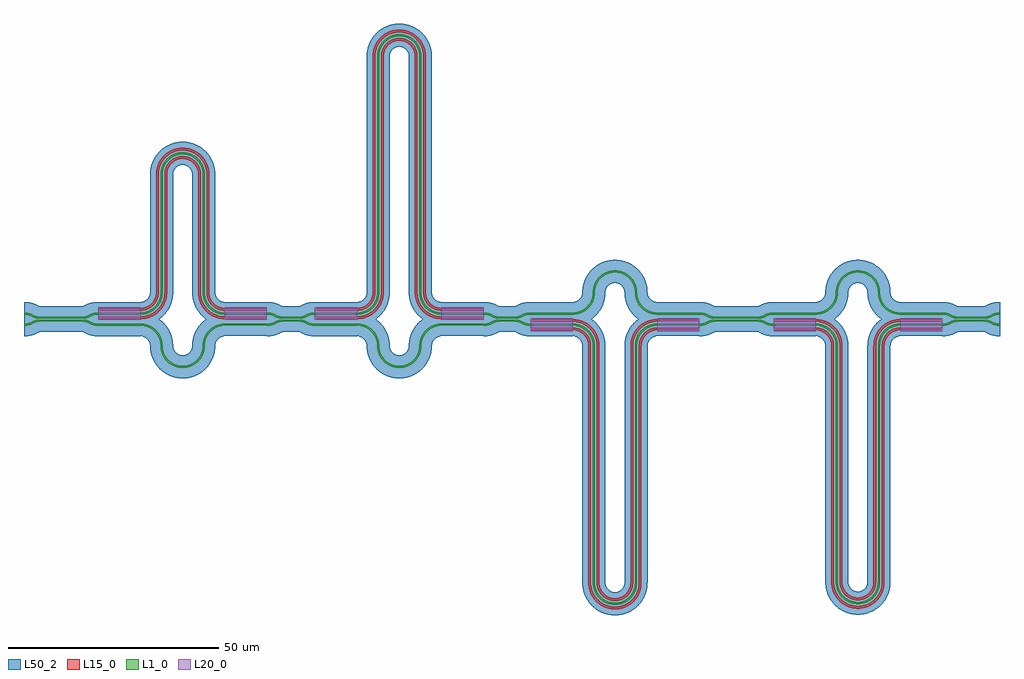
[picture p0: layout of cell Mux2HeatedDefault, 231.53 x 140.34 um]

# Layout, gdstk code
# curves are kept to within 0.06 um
import gdstk
lib = gdstk.Library(unit=1e-6, precision=1e-09)
def R(c, l, rs):  # rectangles x0, y0, x1, y1
    for r in rs: c.add(gdstk.rectangle(r[:2], r[2:], *l))
def P(c, l, *ps):  # polygons
    for p in ps: c.add(gdstk.Polygon(p, *l))
L1_0 = (1, 0)
L15_0 = (15, 0)
L20_0 = (20, 0)
L50_2 = (50, 2)

mux2heateddefaultdc_0 = lib.new_cell('Mux2HeatedDefaultdc_0')
P(mux2heateddefaultdc_0, L1_0, [(-8.818,1.1),(-7.81,0.986),(-6.2,0.305),(-5.206,0.11),(5.003,0.101),(6.135,0.284),(7.81,0.986),(8.819,1.1),(8.819,1.55),(8.229,1.522),(7.632,1.404),(6.058,0.732),(5.056,0.552),(-5.236,0.563),(-6.115,0.752),(-7.502,1.366),(-8.566,1.547),(-8.818,1.55)],
  [(-8.818,-1.55),(-8.229,-1.522),(-7.632,-1.404),(-6.058,-0.732),(-5.056,-0.552),(5.236,-0.563),(6.115,-0.752),(7.502,-1.366),(8.566,-1.547),(8.819,-1.55),(8.819,-1.1),(7.81,-0.986),(6.2,-0.305),(5.206,-0.11),(-5.003,-0.101),(-6.135,-0.284),(-7.81,-0.986),(-8.818,-1.1)])
P(mux2heateddefaultdc_0, L50_2, [(8.819,-1.55),(8.819,-4.05),(7.07,-3.842),(6.237,-3.565),(5.32,-3.123),(4.905,-3.05),(-5.024,-3.054),(-7.07,-3.842),(-8.818,-4.05),(-8.818,4.05),(-7.07,3.842),(-6.237,3.565),(-5.32,3.123),(-4.905,3.05),(5.024,3.054),(7.07,3.842),(8.819,4.05)])

mux2heateddefaultdc_1 = lib.new_cell('Mux2HeatedDefaultdc_1')
P(mux2heateddefaultdc_1, L1_0, [(-5.693,1.1),(-5.157,1.075),(-4.569,0.954),(-3.139,0.327),(-2.283,0.128),(1.946,0.103),(3.01,0.284),(4.685,0.986),(5.694,1.1),(5.694,1.55),(5.104,1.522),(4.507,1.404),(2.933,0.732),(1.931,0.552),(-2.29,0.583),(-3.102,0.793),(-4.377,1.366),(-5.306,1.54),(-5.693,1.55)],
  [(-5.693,-1.55),(-5.104,-1.522),(-4.507,-1.404),(-2.933,-0.732),(-1.931,-0.552),(2.29,-0.583),(3.102,-0.793),(4.377,-1.366),(5.306,-1.54),(5.694,-1.55),(5.694,-1.1),(5.157,-1.075),(4.569,-0.954),(3.139,-0.327),(2.283,-0.128),(-1.946,-0.103),(-3.01,-0.284),(-4.685,-0.986),(-5.693,-1.1)])
P(mux2heateddefaultdc_1, L50_2, [(5.694,-1.55),(5.694,-4.05),(3.945,-3.842),(3.112,-3.565),(2.195,-3.123),(1.78,-3.05),(-1.952,-3.06),(-3.945,-3.842),(-5.693,-4.05),(-5.693,4.05),(-3.945,3.842),(-3.112,3.565),(-2.195,3.123),(-1.78,3.05),(1.952,3.06),(3.945,3.842),(5.694,4.05)])

mux2heateddefaultdc_2 = lib.new_cell('Mux2HeatedDefaultdc_2')
P(mux2heateddefaultdc_2, L1_0, [(-5.58,1.1),(-5.044,1.075),(-4.456,0.954),(-3.089,0.35),(-2.237,0.137),(1.833,0.103),(2.897,0.284),(4.572,0.986),(5.581,1.1),(5.581,1.55),(4.991,1.522),(4.394,1.404),(2.82,0.732),(1.818,0.552),(-2.177,0.583),(-2.989,0.793),(-4.264,1.366),(-5.125,1.535),(-5.58,1.55)],
  [(-5.58,-1.55),(-4.991,-1.522),(-4.394,-1.404),(-2.82,-0.732),(-1.818,-0.552),(2.177,-0.583),(2.989,-0.793),(4.264,-1.366),(5.125,-1.535),(5.581,-1.55),(5.581,-1.1),(5.044,-1.075),(4.456,-0.954),(3.089,-0.35),(2.237,-0.137),(-1.833,-0.103),(-2.897,-0.284),(-4.572,-0.986),(-5.58,-1.1)])
P(mux2heateddefaultdc_2, L50_2, [(5.581,-1.55),(5.581,-4.05),(3.832,-3.842),(2.999,-3.565),(2.082,-3.123),(1.667,-3.05),(-1.839,-3.06),(-3.832,-3.842),(-5.58,-4.05),(-5.58,4.05),(-3.832,3.842),(-2.999,3.565),(-2.082,3.123),(-1.667,3.05),(1.839,3.06),(3.832,3.842),(5.581,4.05)])

mux2heateddefaultdc_3 = lib.new_cell('Mux2HeatedDefaultdc_3')
P(mux2heateddefaultdc_3, L1_0, [(-8.818,1.1),(-7.81,0.986),(-6.2,0.305),(-5.206,0.11),(5.003,0.101),(6.135,0.284),(7.81,0.986),(8.819,1.1),(8.819,1.55),(8.229,1.522),(7.632,1.404),(6.058,0.732),(5.056,0.552),(-5.236,0.563),(-6.115,0.752),(-7.502,1.366),(-8.566,1.547),(-8.818,1.55)],
  [(-8.818,-1.55),(-8.229,-1.522),(-7.632,-1.404),(-6.058,-0.732),(-5.056,-0.552),(5.236,-0.563),(6.115,-0.752),(7.502,-1.366),(8.566,-1.547),(8.819,-1.55),(8.819,-1.1),(7.81,-0.986),(6.2,-0.305),(5.206,-0.11),(-5.003,-0.101),(-6.135,-0.284),(-7.81,-0.986),(-8.818,-1.1)])
P(mux2heateddefaultdc_3, L50_2, [(8.819,-1.55),(8.819,-4.05),(7.07,-3.842),(6.237,-3.565),(5.32,-3.123),(4.905,-3.05),(-5.024,-3.054),(-7.07,-3.842),(-8.818,-4.05),(-8.818,4.05),(-7.07,3.842),(-6.237,3.565),(-5.32,3.123),(-4.905,3.05),(5.024,3.054),(7.07,3.842),(8.819,4.05)])

mux2heateddefaultdc_4 = lib.new_cell('Mux2HeatedDefaultdc_4')
P(mux2heateddefaultdc_4, L1_0, [(-6.854,1.1),(-6.318,1.075),(-5.73,0.954),(-4.3,0.327),(-3.377,0.121),(3.107,0.103),(4.171,0.284),(5.846,0.986),(6.855,1.1),(6.855,1.55),(6.265,1.522),(5.668,1.404),(4.094,0.732),(3.092,0.552),(-3.391,0.575),(-4.207,0.772),(-5.538,1.366),(-6.534,1.544),(-6.854,1.55)],
  [(-6.854,-1.55),(-6.265,-1.522),(-5.668,-1.404),(-4.094,-0.732),(-3.092,-0.552),(3.391,-0.575),(4.207,-0.772),(5.538,-1.366),(6.534,-1.544),(6.855,-1.55),(6.855,-1.1),(6.318,-1.075),(5.73,-0.954),(4.3,-0.327),(3.377,-0.121),(-3.107,-0.103),(-4.171,-0.284),(-5.846,-0.986),(-6.854,-1.1)])
P(mux2heateddefaultdc_4, L50_2, [(6.855,-1.55),(6.855,-4.05),(5.106,-3.842),(4.273,-3.565),(3.356,-3.123),(2.941,-3.05),(-3.06,-3.054),(-5.106,-3.842),(-6.854,-4.05),(-6.854,4.05),(-5.106,3.842),(-4.273,3.565),(-3.356,3.123),(-2.941,3.05),(3.06,3.054),(5.106,3.842),(6.855,4.05)])

mux2heateddefaultd_0 = lib.new_cell('Mux2HeatedDefaultd_0')
P(mux2heateddefaultd_0, L1_0, [(0,-0.225),(10.001,-0.225),(10.986,-0.131),(12.103,0.217),(13.115,0.805),(13.97,1.603),(14.627,2.572),(15.051,3.662),(15.224,4.91),(15.27,33.676),(15.454,34.479),(15.811,35.311),(16.267,35.996),(16.896,36.647),(17.565,37.126),(18.307,37.484),(19.18,37.723),(20,37.794),(20.82,37.723),(21.693,37.484),(22.435,37.126),(23.104,36.647),(23.733,35.996),(24.189,35.311),(24.546,34.479),(24.73,33.676),(24.776,4.91),(24.949,3.662),(25.373,2.572),(26.03,1.603),(26.885,0.805),(27.897,0.217),(29.014,-0.131),(29.999,-0.225),(40,-0.225),(40,0.225),(30.001,0.225),(28.937,0.345),(27.928,0.698),(27.023,1.267),(26.216,2.088),(25.663,3.003),(25.345,3.937),(25.226,4.918),(25.206,33.469),(24.947,34.702),(24.448,35.761),(23.663,36.745),(22.664,37.514),(21.511,38.021),(20.36,38.231),(19.192,38.181),(17.98,37.838),(16.885,37.214),(16.03,36.416),(15.373,35.447),(14.927,34.269),(14.775,33.02),(14.772,4.835),(14.571,3.619),(14.108,2.565),(13.519,1.772),(12.713,1.07),(11.846,0.596),(10.982,0.327),(9.999,0.225),(0,0.225)])
P(mux2heateddefaultd_0, L15_0, [(0,-1.3),(10.109,-1.299),(11.296,-1.165),(12.635,-0.722),(13.842,0.007),(14.787,0.904),(15.578,2.072),(16.117,3.492),(16.299,4.891),(16.335,33.528),(16.497,34.211),(16.754,34.795),(17.546,35.788),(18.113,36.202),(18.748,36.501),(20,36.719),(21.252,36.501),(21.887,36.202),(22.454,35.788),(23.246,34.795),(23.503,34.211),(23.665,33.528),(23.701,4.891),(23.883,3.492),(24.422,2.072),(25.213,0.904),(26.158,0.007),(27.365,-0.722),(28.704,-1.165),(29.891,-1.299),(40,-1.3),(40,-0.7),(29.902,-0.699),(28.541,-0.51),(27.351,-0.047),(26.37,0.606),(25.544,1.446),(24.864,2.527),(24.443,3.732),(24.301,4.902),(24.29,33.316),(24.094,34.334),(23.661,35.275),(23.014,36.086),(22.193,36.718),(21.315,37.113),(20.297,37.309),(19.261,37.255),(18.269,36.955),(17.377,36.427),(16.685,35.758),(16.126,34.885),(15.792,33.903),(15.7,33.016),(15.697,4.803),(15.484,3.446),(14.953,2.178),(14.267,1.22),(13.398,0.424),(12.384,-0.177),(11.268,-0.557),(10.098,-0.699),(0,-0.7)],
  [(0,0.7),(10.739,0.764),(11.663,1.034),(12.503,1.504),(13.219,2.149),(13.807,3.002),(14.157,3.899),(14.299,4.926),(14.3,33.022),(14.385,33.998),(14.636,34.948),(15.047,35.84),(15.606,36.649),(16.294,37.35),(17.178,37.972),(18.071,38.383),(19.021,38.634),(20,38.719),(20.979,38.634),(21.929,38.383),(22.822,37.972),(23.706,37.35),(24.394,36.649),(24.953,35.84),(25.364,34.948),(25.615,33.998),(25.7,33.022),(25.701,4.926),(25.843,3.899),(26.193,3.002),(26.781,2.149),(27.497,1.504),(28.337,1.034),(29.261,0.764),(40,0.7),(40,1.3),(30.006,1.3),(29.239,1.379),(28.452,1.639),(27.693,2.107),(27.107,2.693),(26.639,3.452),(26.379,4.239),(26.3,5.006),(26.277,33.562),(25.964,35.048),(25.363,36.325),(24.493,37.435),(23.306,38.382),(22.029,38.983),(20.543,39.296),(19.133,39.259),(17.766,38.91),(16.421,38.204),(15.357,37.277),(14.526,36.138),(13.939,34.737),(13.7,33.025),(13.698,4.872),(13.542,3.93),(13.15,3.059),(12.639,2.406),(12.049,1.919),(11.312,1.54),(10.636,1.355),(0,1.3)])
R(mux2heateddefaultd_0, L20_0, [(0,-1.5,10,1.5), (30,-1.5,40,1.5)])
P(mux2heateddefaultd_0, L50_2, [(0,-2.725),(10.133,-2.724),(11.849,-2.501),(13.352,-1.96),(14.817,-1.04),(15.956,0.08),(16.84,1.41),(17.501,3.151),(17.724,4.867),(17.737,33.254),(17.95,34.006),(18.491,34.722),(19.193,35.146),(20,35.294),(20.807,35.146),(21.509,34.722),(22.05,34.006),(22.263,33.254),(22.276,4.867),(22.499,3.151),(23.16,1.41),(24.044,0.08),(25.183,-1.04),(26.648,-1.96),(28.151,-2.501),(29.867,-2.724),(40,-2.725),(40,2.725),(29.765,2.737),(29.157,2.887),(28.613,3.197),(28.15,3.676),(27.873,4.193),(27.725,4.961),(27.669,33.95),(27.223,35.758),(26.358,37.407),(25.222,38.712),(23.708,39.796),(22.235,40.414),(20.799,40.703),(19.334,40.715),(17.893,40.451),(16.41,39.859),(15.183,39.059),(14.13,38.041),(13.288,36.843),(12.568,35.125),(12.28,33.286),(12.275,4.961),(12.154,4.267),(11.85,3.676),(11.418,3.221),(10.88,2.902),(10.235,2.737),(0,2.725)])

mux2heateddefaultwf = lib.new_cell('Mux2HeatedDefaultwf')
P(mux2heateddefaultwf, L1_0, [(0,-0.225),(10.27,-0.218),(11.338,-0.051),(12.348,0.332),(13.042,0.752),(13.663,1.274),(14.195,1.885),(14.627,2.572),(14.917,3.232),(15.113,3.925),(15.27,5.657),(15.429,6.381),(15.772,7.219),(16.267,7.977),(17.023,8.733),(17.928,9.302),(18.937,9.655),(20,9.775),(21.063,9.655),(22.072,9.302),(22.912,8.784),(23.681,8.041),(24.189,7.292),(24.571,6.381),(24.73,5.657),(24.887,3.925),(25.083,3.232),(25.373,2.572),(25.859,1.813),(26.402,1.211),(27.032,0.7),(27.733,0.292),(28.837,-0.094),(29.999,-0.225),(40,-0.225),(40,0.225),(29.753,0.231),(28.777,0.384),(27.854,0.734),(27.153,1.166),(26.653,1.595),(26.166,2.153),(25.734,2.854),(25.327,4.018),(25.187,5.63),(25.002,6.511),(24.627,7.428),(24.028,8.328),(23.187,9.141),(22.185,9.746),(21.075,10.113),(19.91,10.224),(18.837,10.094),(17.733,9.708),(16.742,9.085),(15.915,8.258),(15.373,7.428),(14.998,6.511),(14.813,5.63),(14.673,4.018),(14.266,2.854),(13.834,2.153),(13.405,1.653),(12.847,1.166),(12.219,0.772),(11.223,0.384),(10.247,0.231),(0,0.225)])
P(mux2heateddefaultwf, L50_2, [(0,-2.725),(10.533,-2.707),(11.978,-2.468),(13.471,-1.901),(15.022,-0.87),(15.693,-0.222),(16.358,0.612),(16.96,1.648),(17.395,2.765),(17.652,3.937),(17.752,5.352),(17.95,5.987),(18.271,6.479),(18.676,6.85),(19.12,7.098),(19.648,7.248),(20.352,7.248),(20.987,7.05),(21.509,6.703),(21.937,6.194),(22.226,5.468),(22.368,3.805),(22.731,2.386),(23.355,1.061),(24.218,-0.123),(25.183,-1.04),(26.176,-1.712),(27.261,-2.223),(28.411,-2.56),(29.867,-2.724),(40,-2.725),(40,2.725),(29.961,2.725),(29.013,2.95),(28.297,3.491),(27.873,4.193),(27.752,4.648),(27.56,6.589),(26.96,8.352),(26.281,9.497),(25.319,10.602),(23.939,11.645),(22.362,12.355),(20.666,12.696),(18.937,12.652),(17.512,12.313),(16.176,11.712),(14.978,10.87),(13.96,9.817),(13.223,8.708),(12.645,7.362),(12.39,6.327),(12.248,4.648),(12.098,4.12),(11.703,3.491),(11.092,3.004),(10.62,2.811),(10.079,2.726),(0,2.725)])

mux2heateddefaultd_1 = lib.new_cell('Mux2HeatedDefaultd_1')
P(mux2heateddefaultd_1, L1_0, [(0,-0.225),(10.09,-0.224),(11.25,-0.073),(12.508,0.416),(13.598,1.211),(14.448,2.258),(15.002,3.489),(15.162,4.192),(15.225,4.999),(15.236,61.367),(15.384,62.26),(15.698,63.11),(16.166,63.884),(16.772,64.557),(17.495,65.103),(18.307,65.503),(19.18,65.742),(20,65.813),(20.82,65.742),(21.693,65.503),(22.505,65.103),(23.228,64.557),(23.834,63.884),(24.302,63.11),(24.616,62.26),(24.764,61.367),(24.775,4.999),(24.838,4.192),(24.998,3.489),(25.552,2.258),(26.402,1.211),(27.492,0.416),(28.75,-0.073),(29.91,-0.224),(40,-0.225),(40,0.225),(29.918,0.226),(28.777,0.384),(27.636,0.851),(26.653,1.595),(25.892,2.565),(25.596,3.154),(25.384,3.777),(25.225,5.001),(25.213,61.398),(25.094,62.201),(24.885,62.891),(24.584,63.546),(24.141,64.225),(23.598,64.827),(23.042,65.286),(22.348,65.706),(21.597,66.013),(20.54,66.235),(19.37,66.225),(18.232,65.955),(17.182,65.438),(16.337,64.764),(15.6,63.856),(15.083,62.806),(14.813,61.668),(14.775,5.001),(14.73,4.343),(14.546,3.54),(14.065,2.495),(13.288,1.537),(12.364,0.851),(11.223,0.384),(10.082,0.226),(0,0.225)])
P(mux2heateddefaultd_1, L15_0, [(0,-1.3),(10.109,-1.299),(11.718,-1.061),(13.119,-0.474),(14.416,0.507),(15.363,1.694),(16.031,3.178),(16.24,4.133),(16.3,4.994),(16.309,61.293),(16.423,61.985),(16.666,62.643),(17.029,63.244),(17.499,63.765),(18.059,64.188),(18.628,64.474),(19.239,64.659),(20,64.738),(20.761,64.659),(21.372,64.474),(21.941,64.188),(22.501,63.765),(22.971,63.244),(23.334,62.643),(23.577,61.985),(23.691,61.293),(23.7,4.994),(23.76,4.133),(23.969,3.178),(24.637,1.694),(25.584,0.507),(26.881,-0.474),(28.282,-1.061),(29.891,-1.299),(40,-1.3),(40,-0.7),(29.803,-0.697),(28.351,-0.456),(27.093,0.097),(25.935,1.004),(25.047,2.178),(24.516,3.446),(24.3,4.997),(24.294,61.26),(24.021,62.563),(23.408,63.66),(22.443,64.577),(21.315,65.132),(20.371,65.322),(19.408,65.297),(18.475,65.058),(17.557,64.577),(16.882,63.999),(16.301,63.231),(15.906,62.352),(15.716,61.409),(15.7,4.997),(15.631,4.118),(15.427,3.257),(14.852,2.009),(13.996,0.935),(12.907,0.097),(11.649,-0.456),(10.197,-0.697),(0,-0.7)],
  [(0,0.7),(9.997,0.7),(10.884,0.792),(11.932,1.159),(12.907,1.831),(13.661,2.744),(14.116,3.756),(14.3,5.003),(14.321,61.529),(14.516,62.592),(14.864,63.511),(15.424,64.436),(16.147,65.238),(16.926,65.838),(17.887,66.332),(18.924,66.635),(20,66.738),(21.076,66.635),(22.113,66.332),(23.074,65.838),(23.853,65.238),(24.576,64.436),(25.136,63.511),(25.484,62.592),(25.679,61.529),(25.7,5.003),(25.884,3.756),(26.339,2.744),(27.093,1.831),(28.068,1.159),(29.116,0.792),(30.003,0.7),(40,0.7),(40,1.3),(30.006,1.3),(29.053,1.423),(28.168,1.785),(27.406,2.361),(26.785,3.168),(26.423,4.053),(26.3,5.006),(26.285,61.472),(26.142,62.44),(25.891,63.272),(25.474,64.156),(24.993,64.88),(24.416,65.531),(23.668,66.16),(22.831,66.666),(22.029,67.002),(20.651,67.304),(19.241,67.292),(17.868,66.966),(16.694,66.401),(15.584,65.531),(14.754,64.527),(14.109,63.272),(13.76,61.905),(13.7,5.006),(13.503,3.808),(13.081,2.951),(12.501,2.273),(11.719,1.724),(10.823,1.393),(9.994,1.3),(0,1.3)])
R(mux2heateddefaultd_1, L20_0, [(0,-1.5,10,1.5), (30,-1.5,40,1.5)])
P(mux2heateddefaultd_1, L50_2, [(0,-2.725),(10.267,-2.72),(11.327,-2.61),(12.362,-2.355),(14.053,-1.576),(15.509,-0.415),(16.645,1.061),(17.395,2.765),(17.652,3.937),(17.725,4.988),(17.726,61.116),(17.918,61.954),(18.405,62.66),(19.12,63.136),(20,63.313),(20.88,63.136),(21.595,62.66),(22.082,61.954),(22.274,61.116),(22.275,4.988),(22.348,3.937),(22.605,2.765),(23.355,1.061),(24.491,-0.415),(25.947,-1.576),(27.638,-2.355),(28.673,-2.61),(29.733,-2.72),(40,-2.725),(40,2.725),(29.648,2.752),(29.013,2.95),(28.491,3.297),(28.063,3.806),(27.791,4.456),(27.725,4.961),(27.696,61.704),(27.501,62.887),(27.175,63.901),(26.645,64.977),(25.956,65.958),(25.222,66.731),(24.278,67.47),(23.352,67.998),(22.235,68.433),(20.533,68.745),(18.937,68.689),(17.261,68.261),(15.834,67.543),(14.585,66.547),(13.568,65.316),(12.825,63.901),(12.368,62.233),(12.275,61.05),(12.275,4.961),(12.178,4.342),(11.916,3.773),(11.509,3.297),(10.987,2.95),(10.352,2.752),(0,2.725)])

mux2heateddefaultd_2 = lib.new_cell('Mux2HeatedDefaultd_2')
P(mux2heateddefaultd_2, L1_0, [(0,-0.225),(10.09,-0.224),(11.25,-0.073),(12.508,0.416),(13.598,1.211),(14.448,2.258),(15.002,3.489),(15.162,4.192),(15.225,4.999),(15.236,61.532),(15.384,62.425),(15.698,63.274),(16.166,64.049),(16.772,64.722),(17.495,65.268),(18.307,65.667),(19.18,65.907),(20,65.978),(20.82,65.907),(21.693,65.667),(22.505,65.268),(23.228,64.722),(23.834,64.049),(24.302,63.274),(24.616,62.425),(24.764,61.532),(24.775,4.999),(24.838,4.192),(24.998,3.489),(25.552,2.258),(26.402,1.211),(27.492,0.416),(28.75,-0.073),(29.91,-0.224),(40,-0.225),(40,0.225),(29.918,0.226),(28.777,0.384),(27.636,0.851),(26.653,1.595),(25.892,2.565),(25.596,3.154),(25.384,3.777),(25.225,5.001),(25.213,61.563),(25.094,62.365),(24.853,63.14),(24.54,63.789),(24.141,64.389),(23.598,64.992),(23.042,65.451),(22.428,65.829),(21.683,66.149),(20.54,66.4),(19.37,66.39),(18.317,66.149),(17.258,65.651),(16.337,64.929),(15.6,64.021),(15.083,62.971),(14.813,61.832),(14.775,5.001),(14.73,4.343),(14.546,3.54),(14.065,2.495),(13.288,1.537),(12.364,0.851),(11.223,0.384),(10.082,0.226),(0,0.225)])
P(mux2heateddefaultd_2, L15_0, [(0,-1.3),(10.109,-1.299),(11.718,-1.061),(13.119,-0.474),(14.416,0.507),(15.363,1.694),(16.031,3.178),(16.24,4.133),(16.3,4.994),(16.309,61.458),(16.423,62.15),(16.666,62.808),(17.029,63.408),(17.452,63.886),(18.005,64.318),(18.628,64.639),(19.239,64.824),(20,64.903),(20.761,64.824),(21.372,64.639),(21.995,64.318),(22.548,63.886),(22.971,63.408),(23.334,62.808),(23.577,62.15),(23.691,61.458),(23.7,4.994),(23.76,4.133),(23.969,3.178),(24.637,1.694),(25.584,0.507),(26.881,-0.474),(28.282,-1.061),(29.891,-1.299),(40,-1.3),(40,-0.7),(29.803,-0.697),(28.351,-0.456),(27.093,0.097),(25.935,1.004),(25.047,2.178),(24.516,3.446),(24.3,4.997),(24.294,61.425),(24.021,62.727),(23.408,63.825),(22.503,64.699),(21.315,65.297),(20.371,65.487),(19.408,65.462),(18.545,65.249),(17.681,64.824),(16.933,64.217),(16.339,63.459),(15.929,62.588),(15.723,61.647),(15.7,4.997),(15.631,4.118),(15.427,3.257),(14.852,2.009),(13.996,0.935),(12.907,0.097),(11.649,-0.456),(10.197,-0.697),(0,-0.7)],
  [(0,0.7),(9.997,0.7),(10.884,0.792),(11.932,1.159),(12.907,1.831),(13.661,2.744),(14.116,3.756),(14.3,5.003),(14.321,61.694),(14.516,62.757),(14.864,63.676),(15.424,64.601),(16.147,65.403),(16.926,66.003),(17.887,66.497),(18.924,66.8),(20,66.903),(21.076,66.8),(22.113,66.497),(23.074,66.003),(23.853,65.403),(24.576,64.601),(25.136,63.676),(25.484,62.757),(25.679,61.694),(25.7,5.003),(25.884,3.756),(26.339,2.744),(27.093,1.831),(28.068,1.159),(29.116,0.792),(30.003,0.7),(40,0.7),(40,1.3),(30.006,1.3),(29.053,1.423),(28.168,1.785),(27.406,2.361),(26.785,3.168),(26.423,4.053),(26.3,5.006),(26.285,61.637),(26.142,62.605),(25.891,63.437),(25.474,64.321),(24.993,65.045),(24.416,65.696),(23.668,66.325),(22.831,66.831),(22.029,67.167),(20.651,67.469),(19.241,67.457),(17.868,67.131),(16.694,66.566),(15.584,65.696),(14.754,64.691),(14.109,63.437),(13.76,62.07),(13.7,5.006),(13.503,3.808),(13.081,2.951),(12.501,2.273),(11.719,1.724),(10.823,1.393),(9.994,1.3),(0,1.3)])
R(mux2heateddefaultd_2, L20_0, [(0,-1.5,10,1.5), (30,-1.5,40,1.5)])
P(mux2heateddefaultd_2, L50_2, [(0,-2.725),(10.267,-2.72),(11.327,-2.61),(12.362,-2.355),(14.053,-1.576),(15.509,-0.415),(16.645,1.061),(17.395,2.765),(17.652,3.937),(17.725,4.988),(17.726,61.281),(17.902,62.082),(18.405,62.825),(19.12,63.301),(20,63.478),(20.88,63.301),(21.595,62.825),(22.098,62.082),(22.274,61.281),(22.275,4.988),(22.348,3.937),(22.605,2.765),(23.355,1.061),(24.491,-0.415),(25.947,-1.576),(27.638,-2.355),(28.673,-2.61),(29.733,-2.72),(40,-2.725),(40,2.725),(29.648,2.752),(29.013,2.95),(28.491,3.297),(28.063,3.806),(27.791,4.456),(27.725,4.961),(27.696,61.869),(27.501,63.051),(27.175,64.066),(26.645,65.142),(25.956,66.123),(25.222,66.896),(24.278,67.635),(23.352,68.163),(22.235,68.598),(20.666,68.899),(18.937,68.854),(17.261,68.426),(15.834,67.708),(14.585,66.712),(13.568,65.481),(12.825,64.066),(12.368,62.398),(12.275,61.214),(12.275,4.961),(12.178,4.342),(11.916,3.773),(11.509,3.297),(10.987,2.95),(10.352,2.752),(0,2.725)])

mux2heateddefaultd_3 = lib.new_cell('Mux2HeatedDefaultd_3')
P(mux2heateddefaultd_3, L1_0, [(0,-0.225),(10.09,-0.224),(11.25,-0.073),(12.508,0.416),(13.598,1.211),(14.448,2.258),(15.002,3.489),(15.162,4.192),(15.225,4.999),(15.236,61.367),(15.384,62.26),(15.698,63.11),(16.166,63.884),(16.772,64.557),(17.495,65.103),(18.307,65.503),(19.18,65.742),(20,65.813),(20.82,65.742),(21.693,65.503),(22.505,65.103),(23.228,64.557),(23.834,63.884),(24.302,63.11),(24.616,62.26),(24.764,61.367),(24.775,4.999),(24.838,4.192),(24.998,3.489),(25.552,2.258),(26.402,1.211),(27.492,0.416),(28.75,-0.073),(29.91,-0.224),(40,-0.225),(40,0.225),(29.918,0.226),(28.777,0.384),(27.636,0.851),(26.653,1.595),(25.892,2.565),(25.596,3.154),(25.384,3.777),(25.225,5.001),(25.213,61.398),(25.094,62.201),(24.885,62.891),(24.584,63.546),(24.141,64.225),(23.598,64.827),(23.042,65.286),(22.348,65.706),(21.597,66.013),(20.54,66.235),(19.37,66.225),(18.232,65.955),(17.182,65.438),(16.337,64.764),(15.6,63.856),(15.083,62.806),(14.813,61.668),(14.775,5.001),(14.73,4.343),(14.546,3.54),(14.065,2.495),(13.288,1.537),(12.364,0.851),(11.223,0.384),(10.082,0.226),(0,0.225)])
P(mux2heateddefaultd_3, L15_0, [(0,-1.3),(10.109,-1.299),(11.718,-1.061),(13.119,-0.474),(14.416,0.507),(15.363,1.694),(16.031,3.178),(16.24,4.133),(16.3,4.994),(16.309,61.293),(16.423,61.985),(16.666,62.643),(17.029,63.244),(17.499,63.765),(18.059,64.188),(18.628,64.474),(19.239,64.659),(20,64.738),(20.761,64.659),(21.372,64.474),(21.941,64.188),(22.501,63.765),(22.971,63.244),(23.334,62.643),(23.577,61.985),(23.691,61.293),(23.7,4.994),(23.76,4.133),(23.969,3.178),(24.637,1.694),(25.584,0.507),(26.881,-0.474),(28.282,-1.061),(29.891,-1.299),(40,-1.3),(40,-0.7),(29.803,-0.697),(28.351,-0.456),(27.093,0.097),(25.935,1.004),(25.047,2.178),(24.516,3.446),(24.3,4.997),(24.294,61.26),(24.021,62.563),(23.408,63.66),(22.443,64.577),(21.315,65.132),(20.371,65.322),(19.408,65.297),(18.475,65.058),(17.557,64.577),(16.882,63.999),(16.301,63.231),(15.906,62.352),(15.716,61.409),(15.7,4.997),(15.631,4.118),(15.427,3.257),(14.852,2.009),(13.996,0.935),(12.907,0.097),(11.649,-0.456),(10.197,-0.697),(0,-0.7)],
  [(0,0.7),(9.997,0.7),(10.884,0.792),(11.932,1.159),(12.907,1.831),(13.661,2.744),(14.116,3.756),(14.3,5.003),(14.321,61.529),(14.516,62.592),(14.864,63.511),(15.424,64.436),(16.147,65.238),(16.926,65.838),(17.887,66.332),(18.924,66.635),(20,66.738),(21.076,66.635),(22.113,66.332),(23.074,65.838),(23.853,65.238),(24.576,64.436),(25.136,63.511),(25.484,62.592),(25.679,61.529),(25.7,5.003),(25.884,3.756),(26.339,2.744),(27.093,1.831),(28.068,1.159),(29.116,0.792),(30.003,0.7),(40,0.7),(40,1.3),(30.006,1.3),(29.053,1.423),(28.168,1.785),(27.406,2.361),(26.785,3.168),(26.423,4.053),(26.3,5.006),(26.285,61.472),(26.142,62.44),(25.891,63.272),(25.474,64.156),(24.993,64.88),(24.416,65.531),(23.668,66.16),(22.831,66.666),(22.029,67.002),(20.651,67.304),(19.241,67.292),(17.868,66.966),(16.694,66.401),(15.584,65.531),(14.754,64.527),(14.109,63.272),(13.76,61.905),(13.7,5.006),(13.503,3.808),(13.081,2.951),(12.501,2.273),(11.719,1.724),(10.823,1.393),(9.994,1.3),(0,1.3)])
R(mux2heateddefaultd_3, L20_0, [(0,-1.5,10,1.5), (30,-1.5,40,1.5)])
P(mux2heateddefaultd_3, L50_2, [(0,-2.725),(10.267,-2.72),(11.327,-2.61),(12.362,-2.355),(14.053,-1.576),(15.509,-0.415),(16.645,1.061),(17.395,2.765),(17.652,3.937),(17.725,4.988),(17.726,61.116),(17.918,61.954),(18.405,62.66),(19.12,63.136),(20,63.313),(20.88,63.136),(21.595,62.66),(22.082,61.954),(22.274,61.116),(22.275,4.988),(22.348,3.937),(22.605,2.765),(23.355,1.061),(24.491,-0.415),(25.947,-1.576),(27.638,-2.355),(28.673,-2.61),(29.733,-2.72),(40,-2.725),(40,2.725),(29.648,2.752),(29.013,2.95),(28.491,3.297),(28.063,3.806),(27.791,4.456),(27.725,4.961),(27.696,61.704),(27.501,62.887),(27.175,63.901),(26.645,64.977),(25.956,65.958),(25.222,66.731),(24.278,67.47),(23.352,67.998),(22.235,68.433),(20.533,68.745),(18.937,68.689),(17.261,68.261),(15.834,67.543),(14.585,66.547),(13.568,65.316),(12.825,63.901),(12.368,62.233),(12.275,61.05),(12.275,4.961),(12.178,4.342),(11.916,3.773),(11.509,3.297),(10.987,2.95),(10.352,2.752),(0,2.725)])

mux2heateddefault = lib.new_cell('Mux2HeatedDefault')
mux2heateddefault.add(gdstk.Reference(mux2heateddefaultdc_0, (0,0)))
mux2heateddefault.add(gdstk.Reference(mux2heateddefaultdc_1, (54.512,0)))
mux2heateddefault.add(gdstk.Reference(mux2heateddefaultdc_2, (105.786,0)))
mux2heateddefault.add(gdstk.Reference(mux2heateddefaultdc_3, (160.185,0)))
mux2heateddefault.add(gdstk.Reference(mux2heateddefaultdc_4, (215.858,0)))
mux2heateddefault.add(gdstk.Reference(mux2heateddefaultd_0, (8.819,1.325)))
mux2heateddefault.add(gdstk.Reference(mux2heateddefaultwf, (8.819,-1.325), x_reflection=True))
mux2heateddefault.add(gdstk.Reference(mux2heateddefaultd_1, (60.206,1.325)))
mux2heateddefault.add(gdstk.Reference(mux2heateddefaultwf, (60.206,-1.325), x_reflection=True))
mux2heateddefault.add(gdstk.Reference(mux2heateddefaultd_2, (111.367,-1.325), x_reflection=True))
mux2heateddefault.add(gdstk.Reference(mux2heateddefaultwf, (111.367,1.325)))
mux2heateddefault.add(gdstk.Reference(mux2heateddefaultd_3, (169.004,-1.325), x_reflection=True))
mux2heateddefault.add(gdstk.Reference(mux2heateddefaultwf, (169.004,1.325)))

lib.write_gds('Mux2HeatedDefault.gds')
